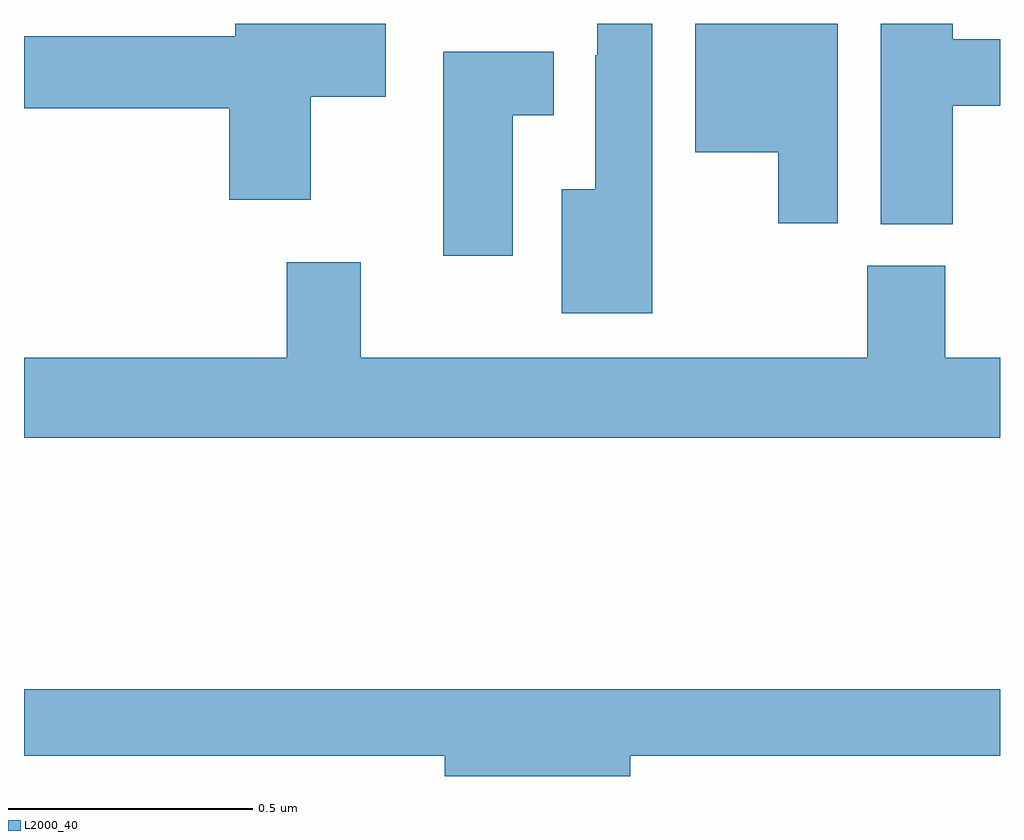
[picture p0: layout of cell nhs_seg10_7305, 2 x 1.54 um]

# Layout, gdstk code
import gdstk
lib = gdstk.Library(unit=1e-6, precision=1e-09)
def P(c, l, *ps):  # polygons
    for p in ps: c.add(gdstk.Polygon(p, *l))
L2000_40 = (2000, 40)

nhs_seg10_7305 = lib.new_cell('nhs_seg10_7305')
P(nhs_seg10_7305, L2000_40, [(203.903,1298.332),(204,1298.332),(204,1298.468),(203.903,1298.468),(203.903,1298.5),(203.756,1298.5),(203.756,1298.089),(203.903,1298.089)],
  [(203.287,1298.5),(203.175,1298.5),(203.175,1298.435),(203.171,1298.435),(203.171,1298.161),(203.102,1298.161),(203.102,1297.907),(203.287,1297.907)],
  [(203.668,1298.5),(203.375,1298.5),(203.375,1298.237),(203.546,1298.237),(203.546,1298.091),(203.668,1298.091)],
  [(202.588,1298.35),(202.741,1298.35),(202.741,1298.5),(202.433,1298.5),(202.433,1298.474),(202,1298.474),(202,1298.327),(202.421,1298.327),(202.421,1298.139),(202.588,1298.139)],
  [(203.002,1298.312),(203.086,1298.312),(203.086,1298.443),(202.859,1298.443),(202.859,1298.025),(203.002,1298.025)],
  [(204,1297.816),(203.888,1297.816),(203.888,1298.004),(203.728,1298.004),(203.728,1297.816),(202.69,1297.816),(202.69,1298.011),(202.538,1298.011),(202.538,1297.816),(202,1297.816),(202,1297.652),(204,1297.652)],
  [(203.242,1297),(204,1297),(204,1297.136),(202,1297.136),(202,1297),(202.862,1297),(202.862,1296.958),(203.242,1296.958)])

lib.write_gds('nhs_seg10_7305.gds')
